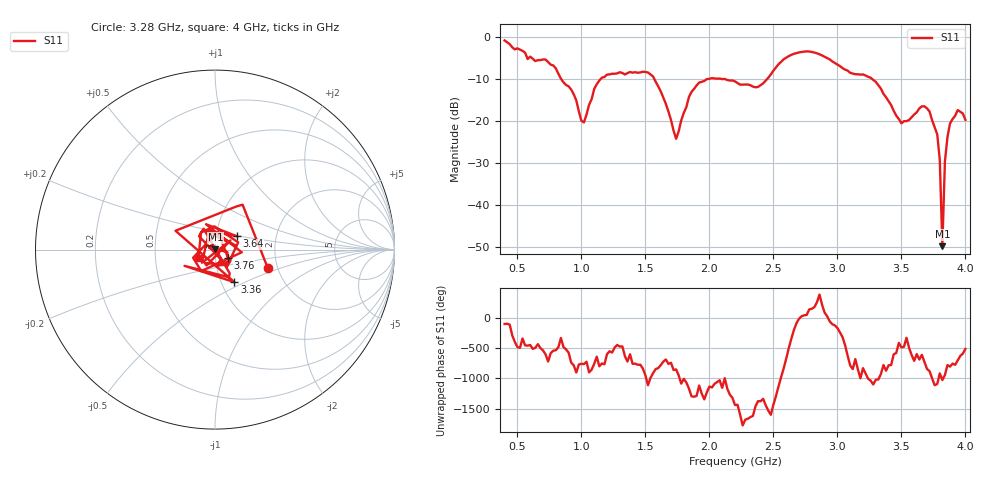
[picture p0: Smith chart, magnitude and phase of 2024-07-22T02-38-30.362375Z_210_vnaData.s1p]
!Created with skrf (http://scikit-rf.org).
# Hz S RI R 50.0
!freq ReS11 ImS11
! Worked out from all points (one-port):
!   181 points, 400 MHz to 4 GHz, reference 50 ohm
!   lowest |S11| = -49.8 dB at 3.82 GHz (marker M1), VSWR 1.01, Z = 50.2 + j0.261 ohm
!   |S11| at or under -10 dB: 1.57 GHz to 1.98 GHz (409.3 MHz wide, 23.1 % of centre); 2.124 GHz to 2.45 GHz (326.1 MHz wide, 14.3 % of centre); 3.273 GHz to end of sweep (the widest 3 of 4)
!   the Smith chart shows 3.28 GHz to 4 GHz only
!   S11 on the Smith chart (normalised r, x): 3.28 GHz: 1.77, -0.39; 3.36 GHz: 1.15, -0.44; 3.64 GHz: 1.26, +0.19; 3.76 GHz: 1.15, -0.10; 4 GHz: 0.83, -0.08
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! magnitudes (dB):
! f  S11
! 400 MHz  -0.8
! 720 MHz  -5.3
! 860 MHz  -10.8
! 1.02 GHz  -20.3
! 1.14 GHz  -10.3
! 1.3 GHz  -8.3
! 1.56 GHz  -9.4
! 1.74 GHz  -24.2
! 1.76 GHz  -22.4
! 1.84 GHz  -14.3
! 1.92 GHz  -10.8
! 2.2 GHz  -10.5
! 2.38 GHz  -11.9
! 2.66 GHz  -4.0
! 3.1 GHz  -8.5
! 3.28 GHz  -10.2
! 3.36 GHz  -13.5
! 3.5 GHz  -20.5
! 3.56 GHz  -19.7
! 3.64 GHz  -17.0
! 3.72 GHz  -17.7
! 3.76 GHz  -21.5
! 3.8 GHz  -29.3
! 3.82 GHz  -49.8
! 3.84 GHz  -29.6
! 3.86 GHz  -23.8
! 3.94 GHz  -17.4
! 4 GHz  -19.7
